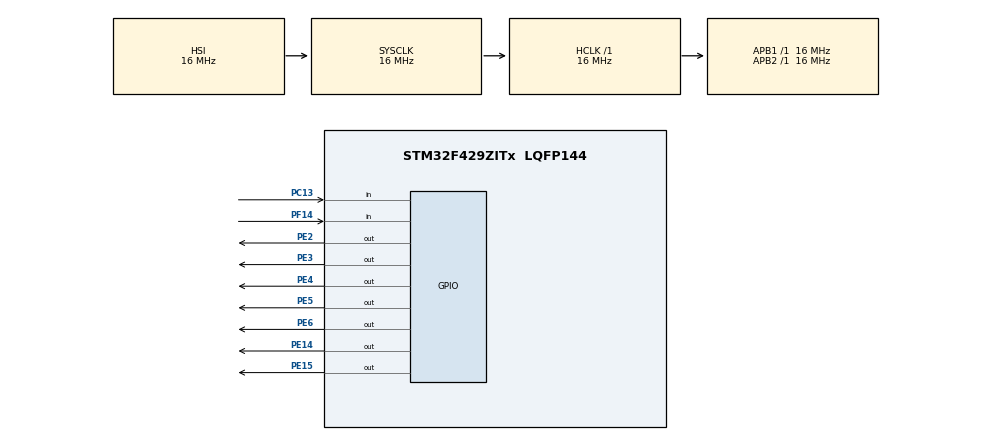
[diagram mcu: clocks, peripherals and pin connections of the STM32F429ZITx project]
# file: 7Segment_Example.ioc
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Mcu.Family=STM32F4
Mcu.Name=STM32F429ZITx
Mcu.Package=LQFP144
NVIC.PriorityGroup=NVIC_PRIORITYGROUP_4
PC13.Signal=GPIO_Input
PE14.Signal=GPIO_Output
PE15.Signal=GPIO_Output
PE2.Signal=GPIO_Output
PE3.Signal=GPIO_Output
PE4.Signal=GPIO_Output
PE5.Signal=GPIO_Output
PE6.Signal=GPIO_Output
PF14.Signal=GPIO_Input
ProjectManager.HeapSize=0x200
ProjectManager.StackSize=0x400
ProjectManager.TargetToolchain=STM32CubeIDE
RCC.AHBFreq_Value=16000000
RCC.APB1Freq_Value=16000000
RCC.APB2Freq_Value=16000000
RCC.CortexFreq_Value=16000000
RCC.HSE_VALUE=25000000
RCC.HSI_VALUE=16000000
RCC.LSE_VALUE=32768
RCC.SYSCLKFreq_VALUE=16000000
RCC.VCOOutputFreq_Value=192000000
board=custom

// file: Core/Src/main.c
/* USER CODE BEGIN Header */
/**
  ******************************************************************************
  * @file           : main.c
  * @brief          : Main program body
  ******************************************************************************
  * @attention
  *
  * Copyright (c) 2023 STMicroelectronics.
  * All rights reserved.
  *
  * This software is licensed under terms that can be found in the LICENSE file
  * in the root directory of this software component.
  * If no LICENSE file comes with this software, it is provided AS-IS.
  *
  ******************************************************************************
  */
/* USER CODE END Header */
#include "main.h"

void SystemClock_Config(void);
static GPIO_InitTypeDef  GPIO_InitStruct;
static void MX_GPIO_Init(void);

uint16_t a = GPIO_PIN_2;
uint16_t b = GPIO_PIN_4;
uint16_t c = GPIO_PIN_5;
uint16_t d = GPIO_PIN_6;
uint16_t e = GPIO_PIN_3;
uint16_t f = GPIO_PIN_14;
uint16_t g = GPIO_PIN_15;

void number0(){
	HAL_GPIO_WritePin(GPIOE, a, 0);
	HAL_GPIO_WritePin(GPIOE, b, 0);
	HAL_GPIO_WritePin(GPIOE, c, 0);
	HAL_GPIO_WritePin(GPIOE, d, 0);
	HAL_GPIO_WritePin(GPIOE, e, 0);
	HAL_GPIO_WritePin(GPIOE, f, 0);
	HAL_GPIO_WritePin(GPIOE, g, 1);
}
void number1(){
	HAL_GPIO_WritePin(GPIOE, a, 1);
	HAL_GPIO_WritePin(GPIOE, b, 0);
	HAL_GPIO_WritePin(GPIOE, c, 0);
	HAL_GPIO_WritePin(GPIOE, d, 1);
	HAL_GPIO_WritePin(GPIOE, e, 1);
	HAL_GPIO_WritePin(GPIOE, f, 1);
	HAL_GPIO_WritePin(GPIOE, g, 1);
}
void number2(){
	HAL_GPIO_WritePin(GPIOE, a, 0);
	HAL_GPIO_WritePin(GPIOE, b, 0);
	HAL_GPIO_WritePin(GPIOE, c, 1);
	HAL_GPIO_WritePin(GPIOE, d, 0);
	HAL_GPIO_WritePin(GPIOE, e, 0);
	HAL_GPIO_WritePin(GPIOE, f, 1);
	HAL_GPIO_WritePin(GPIOE, g, 0);
}
void number3(){
	HAL_GPIO_WritePin(GPIOE, a, 0);
	HAL_GPIO_WritePin(GPIOE, b, 0);
	HAL_GPIO_WritePin(GPIOE, c, 0);
	HAL_GPIO_WritePin(GPIOE, d, 0);
	HAL_GPIO_WritePin(GPIOE, e, 1);
	HAL_GPIO_WritePin(GPIOE, f, 1);
	HAL_GPIO_WritePin(GPIOE, g, 0);
}
void number4(){
	HAL_GPIO_WritePin(GPIOE, a, 1);
	HAL_GPIO_WritePin(GPIOE, b, 0);
	HAL_GPIO_WritePin(GPIOE, c, 0);
	HAL_GPIO_WritePin(GPIOE, d, 1);
	HAL_GPIO_WritePin(GPIOE, e, 1);
	HAL_GPIO_WritePin(GPIOE, f, 0);
	HAL_GPIO_WritePin(GPIOE, g, 0);
}
void number5(){
	HAL_GPIO_WritePin(GPIOE, a, 0);
	HAL_GPIO_WritePin(GPIOE, b, 1);
	HAL_GPIO_WritePin(GPIOE, c, 0);
	HAL_GPIO_WritePin(GPIOE, d, 0);
	HAL_GPIO_WritePin(GPIOE, e, 1);
	HAL_GPIO_WritePin(GPIOE, f, 0);
	HAL_GPIO_WritePin(GPIOE, g, 0);
}
void number6(){
	HAL_GPIO_WritePin(GPIOE, a, 0);
	HAL_GPIO_WritePin(GPIOE, b, 1);
	HAL_GPIO_WritePin(GPIOE, c, 0);
	HAL_GPIO_WritePin(GPIOE, d, 0);
	HAL_GPIO_WritePin(GPIOE, e, 0);
	HAL_GPIO_WritePin(GPIOE, f, 0);
	HAL_GPIO_WritePin(GPIOE, g, 0);
}
void number7(){
	HAL_GPIO_WritePin(GPIOE, a, 0);
	HAL_GPIO_WritePin(GPIOE, b, 0);
	HAL_GPIO_WritePin(GPIOE, c, 0);
	HAL_GPIO_WritePin(GPIOE, d, 1);
	HAL_GPIO_WritePin(GPIOE, e, 1);
	HAL_GPIO_WritePin(GPIOE, f, 0);
	HAL_GPIO_WritePin(GPIOE, g, 1);
}
void number8(){
	HAL_GPIO_WritePin(GPIOE, a, 0);
	HAL_GPIO_WritePin(GPIOE, b, 0);
	HAL_GPIO_WritePin(GPIOE, c, 0);
	HAL_GPIO_WritePin(GPIOE, d, 0);
	HAL_GPIO_WritePin(GPIOE, e, 0);
	HAL_GPIO_WritePin(GPIOE, f, 0);
	HAL_GPIO_WritePin(GPIOE, g, 0);
}
void number9(){
	HAL_GPIO_WritePin(GPIOE, a, 0);
	HAL_GPIO_WritePin(GPIOE, b, 0);
	HAL_GPIO_WritePin(GPIOE, c, 0);
	HAL_GPIO_WritePin(GPIOE, d, 0);
	HAL_GPIO_WritePin(GPIOE, e, 1);
	HAL_GPIO_WritePin(GPIOE, f, 0);
	HAL_GPIO_WritePin(GPIOE, g, 0);
}
void numberVoid(){
	HAL_GPIO_WritePin(GPIOE, a, 1);
	HAL_GPIO_WritePin(GPIOE, b, 1);
	HAL_GPIO_WritePin(GPIOE, c, 1);
	HAL_GPIO_WritePin(GPIOE, d, 1);
	HAL_GPIO_WritePin(GPIOE, e, 1);
	HAL_GPIO_WritePin(GPIOE, f, 1);
	HAL_GPIO_WritePin(GPIOE, g, 1);
}
char fnd[10][7] = {
{0,0,0,0,0,0,1}, // 0
{1,0,0,1,1,1,1}, // 1
{0,0,1,0,0,1,0}, // 2
{0,0,0,0,1,1,0}, // 3
{1,0,0,1,1,0,0}, // 4
{0,1,0,0,1,0,0}, // 5
{0,1,0,0,0,0,0}, // 6
{0,0,0,1,1,0,1}, // 7
{0,0,0,0,0,0,0}, // 8
{0,0,0,0,1,0,0}  // 9
};
int main(void)
{

  /* MCU Configuration--------------------------------------------------------*/

  /* Reset of all peripherals, Initializes the Flash interface and the Systick. */
  HAL_Init();

  /* Configure the system clock */
  SystemClock_Config();

  /* Initialize all configured peripherals */
  MX_GPIO_Init();
  /* USER CODE BEGIN 2 */
  __HAL_RCC_GPIOF_CLK_ENABLE(); //PF 활성화. UP button
  GPIO_InitStruct.Mode	= GPIO_MODE_INPUT;
  GPIO_InitStruct.Pull	= GPIO_PULLUP; //pullup모드로 하면 스위치가 계속 눌려있는 상태라고 볼 수 있음.
  GPIO_InitStruct.Speed	= GPIO_SPEED_FREQ_HIGH;
  GPIO_InitStruct.Pin	= GPIO_PIN_14;
  HAL_GPIO_Init(GPIOF, &GPIO_InitStruct);

  __HAL_RCC_GPIOC_CLK_ENABLE();	//PC 활성화 DOWN button
  GPIO_InitStruct.Mode	= GPIO_MODE_INPUT;
  GPIO_InitStruct.Pull	= GPIO_PULLDOWN; //pullup모드로 하면 스위치가 계속 눌려있는 상태라고 볼 수 있음.
  GPIO_InitStruct.Speed	= GPIO_SPEED_FREQ_HIGH;
  GPIO_InitStruct.Pin	= GPIO_PIN_13;
  HAL_GPIO_Init(GPIOC, &GPIO_InitStruct);

  __HAL_RCC_GPIOE_CLK_ENABLE(); //PE 활성화
  GPIO_InitStruct.Mode	= GPIO_MODE_OUTPUT_PP;
  GPIO_InitStruct.Pull	= GPIO_PULLUP; //pullup모드로 하면 스위치가 계속 눌려있는 상태라고 볼 수 있음.
  GPIO_InitStruct.Speed	= GPIO_SPEED_FREQ_HIGH;
  GPIO_InitStruct.Pin	= a|b|c|d|e|f|g;
  HAL_GPIO_Init(GPIOE, &GPIO_InitStruct);

  /* USER CODE END 2 */

  /* Infinite loop */
  /* USER CODE BEGIN WHILE */
//  int cnt = 0;
  int i = 0;
  while (1)
  {
    /* USER CODE END WHILE */
	  if(HAL_GPIO_ReadPin(GPIOF, GPIO_PIN_14) == 0) {
		  i++;
		  if(i > 9) i = 0;
	  }
	  if(HAL_GPIO_ReadPin(GPIOC, GPIO_PIN_13) == 1) {
		  i--;
		  if(i < 0) i = 9;
	  }
	  //2차 배열로 출력하기.
	  HAL_GPIO_WritePin(GPIOE, a, fnd[i][0]);
	  HAL_GPIO_WritePin(GPIOE, b, fnd[i][1]);
	  HAL_GPIO_WritePin(GPIOE, c, fnd[i][2]);
	  HAL_GPIO_WritePin(GPIOE, d, fnd[i][3]);
	  HAL_GPIO_WritePin(GPIOE, e, fnd[i][4]);
	  HAL_GPIO_WritePin(GPIOE, f, fnd[i][5]);
	  HAL_GPIO_WritePin(GPIOE, g, fnd[i][6]);
	  HAL_Delay(300);

	  //함수 호출하여 출력하기
//	  switch(cnt){
//		  case 0:
//			  number0();
//			  HAL_Delay(500);
//			  break;
//		  case 1:
//			  number1();
//			  break;HAL_Delay(500);
//		  case 2:
//			  number2();
//			  HAL_Delay(500);
//			  break;
//		  case 3:
//			  number3();
//			  HAL_Delay(500);
//			  break;
//		  case 4:
//			  number4();
//			  HAL_Delay(500);
//			  break;
//		  case 5:
//			  number5();
//			  HAL_Delay(500);
//			  break;
//		  case 6:
//			  number6();
//			  HAL_Delay(500);
//			  break;
//		  case 7:
//			  number7();
//			  HAL_Delay(500);
//			  break;
//		  case 8:
//			  number8();
//			  HAL_Delay(500);
//			  break;
//		  case 9:
//			  number9();
//			  HAL_Delay(500);
//			  break;
//	  }
//
//	  if(HAL_GPIO_ReadPin(GPIOF, GPIO_PIN_14) == 0){
//		  cnt++;
//		  if(i > 10) i = 0;
//	  }
//	  if(HAL_GPIO_ReadPin(GPIOC, GPIO_PIN_13) == 1){
//		  cnt--;
//		  if(i < 0) i = 9;
//	  }

  }
}

void SystemClock_Config(void)
{
  RCC_OscInitTypeDef RCC_OscInitStruct = {0};
  RCC_ClkInitTypeDef RCC_ClkInitStruct = {0};

  /** Configure the main internal regulator output voltage
  */
  __HAL_RCC_PWR_CLK_ENABLE();
  __HAL_PWR_VOLTAGESCALING_CONFIG(PWR_REGULATOR_VOLTAGE_SCALE3);

  /** Initializes the RCC Oscillators according to the specified parameters
  * in the RCC_OscInitTypeDef structure.
  */
  RCC_OscInitStruct.OscillatorType = RCC_OSCILLATORTYPE_HSI;
  RCC_OscInitStruct.HSIState = RCC_HSI_ON;
  RCC_OscInitStruct.HSICalibrationValue = RCC_HSICALIBRATION_DEFAULT;
  RCC_OscInitStruct.PLL.PLLState = RCC_PLL_NONE;
  if (HAL_RCC_OscConfig(&RCC_OscInitStruct) != HAL_OK)
  {
    Error_Handler();
  }

  /** Initializes the CPU, AHB and APB buses clocks
  */
  RCC_ClkInitStruct.ClockType = RCC_CLOCKTYPE_HCLK|RCC_CLOCKTYPE_SYSCLK
                              |RCC_CLOCKTYPE_PCLK1|RCC_CLOCKTYPE_PCLK2;
  RCC_ClkInitStruct.SYSCLKSource = RCC_SYSCLKSOURCE_HSI;
  RCC_ClkInitStruct.AHBCLKDivider = RCC_SYSCLK_DIV1;
  RCC_ClkInitStruct.APB1CLKDivider = RCC_HCLK_DIV1;
  RCC_ClkInitStruct.APB2CLKDivider = RCC_HCLK_DIV1;

  if (HAL_RCC_ClockConfig(&RCC_ClkInitStruct, FLASH_LATENCY_0) != HAL_OK)
  {
    Error_Handler();
  }
}

static void MX_GPIO_Init(void)
{
//  GPIO_InitTypeDef GPIO_InitStruct = {0};

  /* GPIO Ports Clock Enable */
//  __HAL_RCC_GPIOE_CLK_ENABLE();
//  __HAL_RCC_GPIOF_CLK_ENABLE();
//
//  /*Configure GPIO pin Output Level */
//  HAL_GPIO_WritePin(GPIOE, GPIO_PIN_2|GPIO_PIN_3|GPIO_PIN_4|GPIO_PIN_5
//                          |GPIO_PIN_6|GPIO_PIN_14|GPIO_PIN_15, GPIO_PIN_RESET);
//
//  /*Configure GPIO pins : PE2 PE3 PE4 PE5
//                           PE6 PE14 PE15 */
//  GPIO_InitStruct.Pin = GPIO_PIN_2|GPIO_PIN_3|GPIO_PIN_4|GPIO_PIN_5
//                          |GPIO_PIN_6|GPIO_PIN_14|GPIO_PIN_15;
//  GPIO_InitStruct.Mode = GPIO_MODE_OUTPUT_PP;
//  GPIO_InitStruct.Pull = GPIO_NOPULL;
//  GPIO_InitStruct.Speed = GPIO_SPEED_FREQ_LOW;
//  HAL_GPIO_Init(GPIOE, &GPIO_InitStruct);
//
//  /*Configure GPIO pin : PF14 */
//  GPIO_InitStruct.Pin = GPIO_PIN_14;
//  GPIO_InitStruct.Mode = GPIO_MODE_INPUT;
//  GPIO_InitStruct.Pull = GPIO_NOPULL;
//  HAL_GPIO_Init(GPIOF, &GPIO_InitStruct);

}

void Error_Handler(void)
{
  __disable_irq();
  while (1)
  {
  }
}
